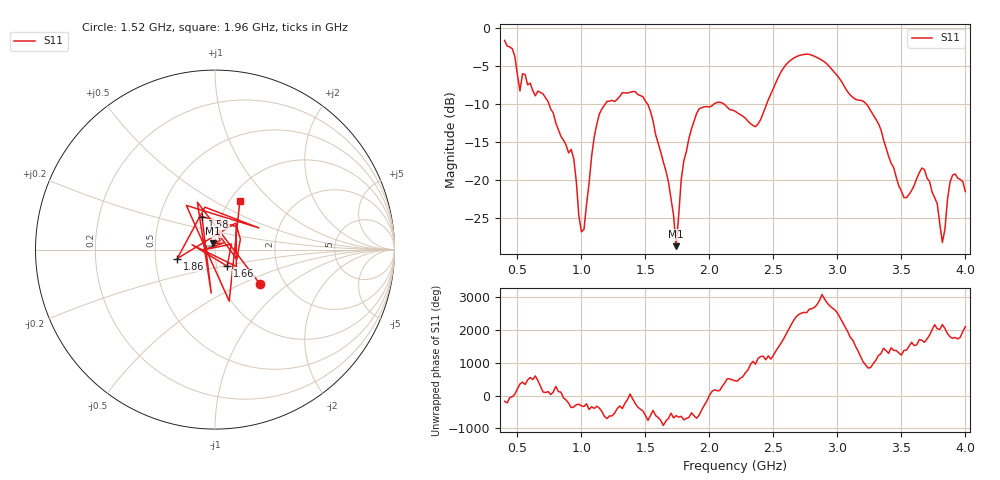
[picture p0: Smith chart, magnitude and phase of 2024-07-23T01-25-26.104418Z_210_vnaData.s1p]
!Created with skrf (http://scikit-rf.org).
# Hz S RI R 50.0
!freq ReS11 ImS11
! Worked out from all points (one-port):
!   181 points, 400 MHz to 4 GHz, reference 50 ohm
!   lowest |S11| = -28.8 dB at 1.74 GHz (marker M1), VSWR 1.08, Z = 48.8 + j3.4 ohm
!   |S11| at or under -10 dB: 746 MHz to 1.187 GHz (441.1 MHz wide, 45.6 % of centre); 1.516 GHz to 2.037 GHz (521.4 MHz wide, 29.4 % of centre); 3.224 GHz to end of sweep (the widest 3 of 4)
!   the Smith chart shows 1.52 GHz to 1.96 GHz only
!   S11 on the Smith chart (normalised r, x): 1.52 GHz: 1.50, -0.63; 1.58 GHz: 0.81, +0.31; 1.66 GHz: 1.13, -0.21; 1.86 GHz: 0.65, -0.07; 1.96 GHz: 1.12, +0.66
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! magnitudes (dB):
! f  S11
! 400 MHz  -1.6
! 480 MHz  -3.7
! 520 MHz  -8.3
! 700 MHz  -8.7
! 860 MHz  -14.8
! 940 MHz  -17.2
! 1 GHz  -26.9
! 1.14 GHz  -11.4
! 1.3 GHz  -9.0
! 1.52 GHz  -10.1
! 1.58 GHz  -14.1
! 1.66 GHz  -18.8
! 1.74 GHz  -28.8
! 1.76 GHz  -24.7
! 1.8 GHz  -17.5
! 1.86 GHz  -13.3
! 1.96 GHz  -10.4
! 2.2 GHz  -11.0
! 2.36 GHz  -13.0
! 2.66 GHz  -3.9
! 3.1 GHz  -8.8
! 3.3 GHz  -12.0
! 3.56 GHz  -22.0
! 3.68 GHz  -18.7
! 3.78 GHz  -23.2
! 3.82 GHz  -28.3
! 3.9 GHz  -19.4
! 4 GHz  -21.6
